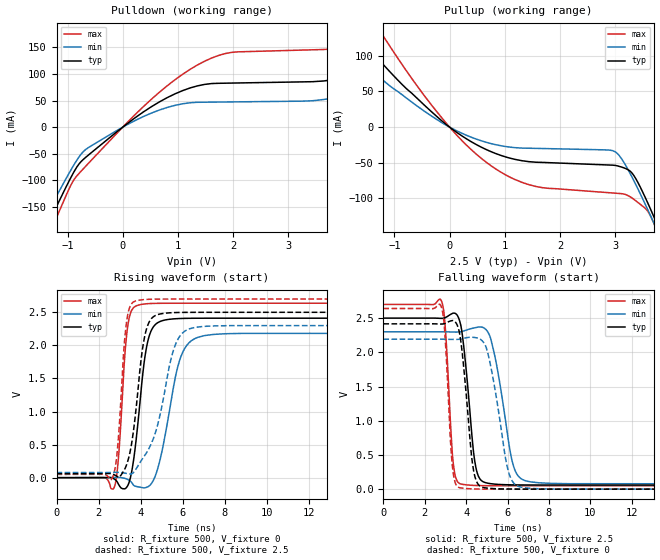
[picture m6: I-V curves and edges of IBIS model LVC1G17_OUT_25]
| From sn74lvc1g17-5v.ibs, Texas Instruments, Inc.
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[Model]   LVC1G17_OUT_25
Model_type  Output
Vref =   0
Rref =   500
Cref =   30p
Vmeas =   1.25
| variable   typ   min   max
C_comp   9.69pF   6.16pF   13.53pF
| C_pullup   9.65pF   6.16pF   11.31pF
| C_pulldown   9.72pF   6.35pF   13.53pF
[Temperature Range]   40   100   -40
| Ambient temperature   25   85   -40
[Voltage range]   2.5   2.3   2.7
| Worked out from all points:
|   slope of the pulldown table from 0 to 0.375 V, typ, clamps not added: 13.1 ohm
|   slope of the pullup table from 0 to 0.375 V, typ, clamps not added: 19 ohm
|   rising waveform, R_fixture 500, V_fixture 0: 20-80 % time 504ps typ, 789ps min, 321ps max; typ from 0 V to 2.41 V
|   falling waveform, R_fixture 500, V_fixture 2.5: 20-80 % time 445ps typ, 700ps min, 286ps max; typ from 2.5 V to 0.06 V
|   rising waveform, R_fixture 500, V_fixture 2.5: 20-80 % time 535ps typ, 978ps min, 328ps max; typ from 0.06 V to 2.5 V
|   falling waveform, R_fixture 500, V_fixture 0: 20-80 % time 432ps typ, 695ps min, 276ps max; typ from 2.42 V to 0 V
[Pulldown]
| LVC1G17_OUT_25
|   Voltage   I(typ)   I(min)   I(max)
-5.5V     -1.065A    -962.2mA   -1.199A
-1.53V    -221.1mA   -193.8mA   -251.2mA
-1.17V    -142.7mA   -123.7mA   -162.8mA
-670mV    -56.67mA   -41.91mA   -73.36mA
520mV     38.43mA    26.46mA    52.49mA
1.485V    80.34mA    46.87mA    124mA
3.84V     90.07mA    55.63mA    147.9mA
5.34V     157.5mA    105.9mA    231.4mA
5.91V     188.7mA    52.63mA    282.8mA
6.525V    93.57mA    53.14mA    298.9mA
7.56V     94.12mA    54.12mA    160.7mA
11V       99.65mA    57.57mA    168.9mA
[Pullup]
| LVC1G17_OUT_25
|   Voltage   I(typ)   I(min)   I(max)
-5.5V     533.4mA    418.6mA    746.4mA
-2.34V    192.7mA    147.4mA    275.6mA
-1.735V   134.9mA    102mA      194.6mA
-1.32V    97.81mA    73.23mA    142.1mA
-135mV    8.418mA    6.055mA    12.49mA
750mV     -34.38mA   -23.05mA   -54.11mA
1.57V     -49.22mA   -29.81mA   -83.34mA
2.995V    -53.63mA   -34.3mA    -92.61mA
3.315V    -65.3mA    -71.46mA   -99.87mA
3.565V    -101.9mA   -111.4mA   -115.4mA
3.75V     -134.3mA   -142.6mA   -143.5mA
11V       -1.614A    -1.516A    -1.761A
[Ramp]
| LVC1G17_OUT_25
| variable   typ   min   max
dV/dt_r   1.55/5.43E-10   1.40/8.48E-10   1.69/3.46E-10
dV/dt_f   1.51/4.63E-10   1.38/7.31E-10   1.64/2.97E-10
R_load = 500
[Rising Waveform]
| LVC1G17_OUT_25
R_fixture =   500
C_fixture =   0
L_fixture =   0
V_fixture =   0
V_fixture_min = 0
V_fixture_max = 0
|   Time   V(typ)   V(min)   V(max)
0s        123.5pV    5.747nV    2.756nV
2.74ns    -19.42mV   3.094mV    -149.4mV
2.945ns   -100.4mV   3.82mV     307.5mV
3.365ns   -131.4mV   -24.81mV   2.245V
3.855ns   782mV      -136.9mV   2.605V
4.2ns     1.822V     -153.2mV   2.627V
4.535ns   2.245V     -77.97mV   2.634V
5.845ns   2.406V     1.768V     2.637V
6.72ns    2.41V      2.122V     2.637V
24.5ns    2.411V     2.183V     2.637V
[Falling Waveform]
| LVC1G17_OUT_25
R_fixture =   500
C_fixture =   0
L_fixture =   0
V_fixture =   2.5
V_fixture_min = 2.3
V_fixture_max = 2.7
|   Time   V(typ)   V(min)   V(max)
0s        2.5V       2.3V       2.7V
2.82ns    2.496V     2.3V       2.743V
3ns       2.508V     2.3V       2.327V
3.365ns   2.572V     2.297V     414mV
3.695ns   2.451V     2.299V     80.74mV
4.415ns   412.6mV    2.358V     54.46mV
4.89ns    99.46mV    2.351V     51.03mV
6.245ns   63.04mV    385.8mV    49.49mV
6.81ns    61.3mV     129.4mV    49.43mV
24.5ns    60.11mV    77.11mV    49.35mV
[Rising Waveform]
| LVC1G17_OUT_25
R_fixture =   500
C_fixture =   0
L_fixture =   0
V_fixture =   2.5
V_fixture_min = 2.3
V_fixture_max = 2.7
|   Time   V(typ)   V(min)   V(max)
0s        60.06mV    77.04mV    49.31mV
2.67ns    52.71mV    79.41mV    9.173mV
2.905ns   15.08mV    80.48mV    461.6mV
3.32ns    187.9mV    63.71mV    2.33V
3.74ns    924.5mV    112mV      2.669V
4.09ns    1.952V     289.2mV    2.69V
4.405ns   2.355V     449.5mV    2.696V
5.59ns    2.495V     1.958V     2.7V
6.335ns   2.499V     2.252V     2.7V
24.5ns    2.5V       2.3V       2.7V
[Falling Waveform]
| LVC1G17_OUT_25
R_fixture =   500
C_fixture =   0
L_fixture =   0
V_fixture =   0
V_fixture_min = 0
V_fixture_max = 0
|   Time   V(typ)   V(min)   V(max)
0s        2.416V     2.191V     2.64V
2.79ns    2.413V     2.192V     2.673V
2.97ns    2.421V     2.191V     2.284V
3.335ns   2.464V     2.189V     335.9mV
3.675ns   2.287V     2.191V     21.65mV
4.32ns    347.1mV    2.22V      4.501mV
4.775ns   29.82mV    2.169V     1.538mV
6.01ns    2.204mV    296.6mV    183.1uV
6.535ns   910.5uV    39.37mV    119.3uV
24.5ns    42.92uV    60.76uV    35.64uV
